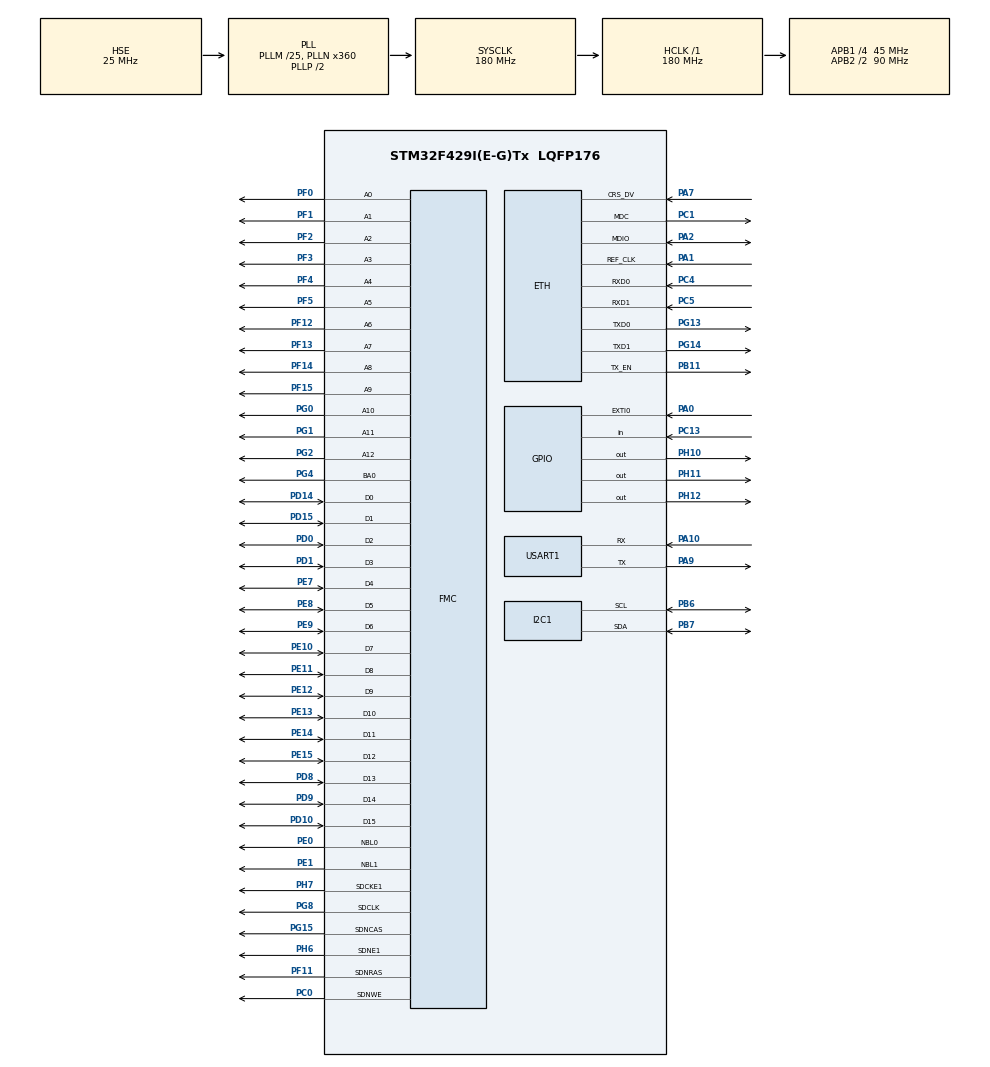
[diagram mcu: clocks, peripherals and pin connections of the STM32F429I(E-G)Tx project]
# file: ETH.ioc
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ETH.MediaInterface=ETH_MEDIA_INTERFACE_RMII
FMC.CASLatency1=FMC_SDRAM_CAS_LATENCY_3
FMC.ColumnBitsNumber1=FMC_SDRAM_COLUMN_BITS_NUM_9
FMC.ExitSelfRefreshDelay1=7
FMC.LoadToActiveDelay1=2
FMC.RCDDelay1=2
FMC.RPDelay1=2
FMC.RPDelay2=2
FMC.ReadPipeDelay1=FMC_SDRAM_RPIPE_DELAY_1
FMC.ReadPipeDelay2=FMC_SDRAM_RPIPE_DELAY_1
FMC.RowCycleDelay1=7
FMC.RowCycleDelay2=7
FMC.SDClockPeriod1=FMC_SDRAM_CLOCK_PERIOD_2
FMC.SDClockPeriod2=FMC_SDRAM_CLOCK_PERIOD_2
FMC.SelfRefreshTime1=4
FMC.WriteRecoveryTime1=3
FREERTOS.Tasks01=defaultTask,0,4096,StartDefaultTask,Default,NULL,Dynamic,NULL,NULL;myTask02,-3,128,StartTask02,Default,NULL,Dynamic,NULL,NULL;myTask03,-3,128,StartTask03,Default,NULL,Dynamic,NULL,NULL;myTask04,-3,128,StartTask04,Default,NULL,Dynamic,NULL,NULL;myTask05,-3,128,StartTask05,Default,NULL,Dynamic,NULL,NULL;myTask06,-3,128,StartTask06,Default,NULL,Dynamic,NULL,NULL
FREERTOS.Timers01=myTimer01,myTimer_Callback01,osTimerPeriodic,Default,NULL,Dynamic,NULL;myTimer02,myTimer_Callback02,osTimerPeriodic,Default,NULL,Dynamic,NULL;myTimer03,myTimer_Callback03,osTimerPeriodic,Default,NULL,Dynamic,NULL;myTimer04,myTimer_Callback04,osTimerPeriodic,Default,NULL,Dynamic,NULL;myTimer05,myTimer_Callback05,osTimerPeriodic,Default,NULL,Dynamic,NULL;myTimer06,myTimer_Callback06,osTimerPeriodic,Default,NULL,Dynamic,NULL
FREERTOS.configTOTAL_HEAP_SIZE=32768
FREERTOS.configUSE_APPLICATION_TASK_TAG=1
FREERTOS.configUSE_COUNTING_SEMAPHORES=1
FREERTOS.configUSE_RECURSIVE_MUTEXES=1
FREERTOS.configUSE_TIMERS=1
LWIP.GATEWAY_ADDRESS=192.168.018.001
LWIP.IP_ADDRESS=192.168.018.201
LWIP.LWIP_DHCP=1
LWIP.NETMASK_ADDRESS=255.255.255.000
LWIP.Version=v2.1.2_Cube
Mcu.Family=STM32F4
Mcu.Name=STM32F429I(E-G)Tx
Mcu.Package=LQFP176
NVIC.ETH_IRQn=true\:5\:0\:false\:false\:true\:true\:true\:true
NVIC.EXTI0_IRQn=true\:5\:0\:false\:false\:true\:true\:true\:true
NVIC.FMC_IRQn=true\:5\:0\:false\:false\:true\:true\:true\:true
NVIC.PriorityGroup=NVIC_PRIORITYGROUP_4
NVIC.TIM1_UP_TIM10_IRQn=true\:0\:0\:false\:false\:true\:false\:false\:true
NVIC.TimeBase=TIM1_UP_TIM10_IRQn
NVIC.TimeBaseIP=TIM1
PA0/WKUP.Signal=GPXTI0
PA1.Mode=RMII
PA1.Signal=ETH_REF_CLK
PA10.Mode=Asynchronous
PA10.Signal=USART1_RX
PA13.Mode=Serial_Wire
PA13.Signal=SYS_JTMS-SWDIO
PA14.Mode=Serial_Wire
PA14.Signal=SYS_JTCK-SWCLK
PA2.Mode=RMII
PA2.Signal=ETH_MDIO
PA7.Mode=RMII
PA7.Signal=ETH_CRS_DV
PA9.Mode=Asynchronous
PA9.Signal=USART1_TX
PB11.Mode=RMII
PB11.Signal=ETH_TX_EN
PB6.Mode=I2C
PB6.Signal=I2C1_SCL
PB7.Mode=I2C
PB7.Signal=I2C1_SDA
PC0.Signal=FMC_SDNWE
PC1.Mode=RMII
PC1.Signal=ETH_MDC
PC13.Signal=GPIO_Input
PC14/OSC32_IN.Mode=LSE-External-Oscillator
PC14/OSC32_IN.Signal=RCC_OSC32_IN
PC15/OSC32_OUT.Mode=LSE-External-Oscillator
PC15/OSC32_OUT.Signal=RCC_OSC32_OUT
PC4.Mode=RMII
PC4.Signal=ETH_RXD0
PC5.Mode=RMII
PC5.Signal=ETH_RXD1
PD0.Signal=FMC_D2_DA2
PD1.Signal=FMC_D3_DA3
PD10.Signal=FMC_D15_DA15
PD14.Signal=FMC_D0_DA0
PD15.Signal=FMC_D1_DA1
PD8.Signal=FMC_D13_DA13
PD9.Signal=FMC_D14_DA14
PE0.Signal=FMC_NBL0
PE1.Signal=FMC_NBL1
PE10.Signal=FMC_D7_DA7
PE11.Signal=FMC_D8_DA8
PE12.Signal=FMC_D9_DA9
PE13.Signal=FMC_D10_DA10
PE14.Signal=FMC_D11_DA11
PE15.Signal=FMC_D12_DA12
PE7.Signal=FMC_D4_DA4
PE8.Signal=FMC_D5_DA5
PE9.Signal=FMC_D6_DA6
PF0.Signal=FMC_A0
PF1.Signal=FMC_A1
PF11.Signal=FMC_SDNRAS
PF12.Signal=FMC_A6
PF13.Signal=FMC_A7
PF14.Signal=FMC_A8
PF15.Signal=FMC_A9
PF2.Signal=FMC_A2
PF3.Signal=FMC_A3
PF4.Signal=FMC_A4
PF5.Signal=FMC_A5
PG0.Signal=FMC_A10
PG1.Signal=FMC_A11
PG13.Mode=RMII
PG13.Signal=ETH_TXD0
PG14.Mode=RMII
PG14.Signal=ETH_TXD1
PG15.Signal=FMC_SDNCAS
PG2.Signal=FMC_A12
PG4.Signal=FMC_A14_BA0
PG8.Signal=FMC_SDCLK
PH0/OSC_IN.Mode=HSE-External-Oscillator
PH0/OSC_IN.Signal=RCC_OSC_IN
PH1/OSC_OUT.Mode=HSE-External-Oscillator
PH1/OSC_OUT.Signal=RCC_OSC_OUT
PH10.GPIO_ModeDefaultOutputPP=GPIO_MODE_OUTPUT_PP
PH10.GPIO_PuPd=GPIO_PULLUP
PH10.GPIO_Speed=GPIO_SPEED_FREQ_HIGH
PH10.PinState=GPIO_PIN_SET
PH10.Signal=GPIO_Output
PH11.GPIO_ModeDefaultOutputPP=GPIO_MODE_OUTPUT_PP
PH11.GPIO_PuPd=GPIO_PULLUP
PH11.GPIO_Speed=GPIO_SPEED_FREQ_HIGH
PH11.PinState=GPIO_PIN_SET
PH11.Signal=GPIO_Output
PH12.GPIO_ModeDefaultOutputPP=GPIO_MODE_OUTPUT_PP
PH12.GPIO_PuPd=GPIO_PULLUP
PH12.GPIO_Speed=GPIO_SPEED_FREQ_HIGH
PH12.PinState=GPIO_PIN_SET
PH12.Signal=GPIO_Output
PH6.Mode=SdramChipSelect2_1
PH6.Signal=FMC_SDNE1
PH7.Mode=SdramChipSelect2_1
PH7.Signal=FMC_SDCKE1
ProjectManager.HeapSize=0x1200
ProjectManager.StackSize=0x1400
ProjectManager.TargetToolchain=MDK-ARM V5.27
RCC.48MHZClocksFreq_Value=45000000
RCC.AHBFreq_Value=180000000
RCC.APB1CLKDivider=RCC_HCLK_DIV4
RCC.APB1Freq_Value=45000000
RCC.APB1TimFreq_Value=90000000
RCC.APB2CLKDivider=RCC_HCLK_DIV2
RCC.APB2Freq_Value=90000000
RCC.APB2TimFreq_Value=180000000
RCC.CortexFreq_Value=180000000
RCC.HCLKFreq_Value=180000000
RCC.HSE_VALUE=25000000
RCC.HSI_VALUE=16000000
RCC.PLLM=25
RCC.PLLN=360
RCC.PLLQ=8
RCC.PLLSourceVirtual=RCC_PLLSOURCE_HSE
RCC.SYSCLKFreq_VALUE=180000000
RCC.SYSCLKSource=RCC_SYSCLKSOURCE_PLLCLK
RCC.VCOOutputFreq_Value=360000000
RTC.Date=15
RTC.Hours=12
RTC.Minutes=59
RTC.Month=RTC_MONTH_DECEMBER
RTC.Seconds=30
RTC.WeekDay=RTC_WEEKDAY_TUESDAY
RTC.Year=20
SH.FMC_A0.0=FMC_A0,13b-sda1
SH.FMC_A1.0=FMC_A1,13b-sda1
SH.FMC_A10.0=FMC_A10,13b-sda1
SH.FMC_A11.0=FMC_A11,13b-sda1
SH.FMC_A12.0=FMC_A12,13b-sda1
SH.FMC_A14_BA0.0=FMC_BA0,TwoSdramBanks1
SH.FMC_A2.0=FMC_A2,13b-sda1
SH.FMC_A3.0=FMC_A3,13b-sda1
SH.FMC_A4.0=FMC_A4,13b-sda1
SH.FMC_A5.0=FMC_A5,13b-sda1
SH.FMC_A6.0=FMC_A6,13b-sda1
SH.FMC_A7.0=FMC_A7,13b-sda1
SH.FMC_A8.0=FMC_A8,13b-sda1
SH.FMC_A9.0=FMC_A9,13b-sda1
SH.FMC_D0_DA0.0=FMC_D0,sd-16b-d1
SH.FMC_D10_DA10.0=FMC_D10,sd-16b-d1
SH.FMC_D11_DA11.0=FMC_D11,sd-16b-d1
SH.FMC_D12_DA12.0=FMC_D12,sd-16b-d1
SH.FMC_D13_DA13.0=FMC_D13,sd-16b-d1
SH.FMC_D14_DA14.0=FMC_D14,sd-16b-d1
SH.FMC_D15_DA15.0=FMC_D15,sd-16b-d1
SH.FMC_D1_DA1.0=FMC_D1,sd-16b-d1
SH.FMC_D2_DA2.0=FMC_D2,sd-16b-d1
SH.FMC_D3_DA3.0=FMC_D3,sd-16b-d1
SH.FMC_D4_DA4.0=FMC_D4,sd-16b-d1
SH.FMC_D5_DA5.0=FMC_D5,sd-16b-d1
SH.FMC_D6_DA6.0=FMC_D6,sd-16b-d1
SH.FMC_D7_DA7.0=FMC_D7,sd-16b-d1
SH.FMC_D8_DA8.0=FMC_D8,sd-16b-d1
SH.FMC_D9_DA9.0=FMC_D9,sd-16b-d1
SH.FMC_NBL0.0=FMC_NBL0,Sd2ByteEnable1
SH.FMC_NBL1.0=FMC_NBL1,Sd2ByteEnable1
SH.FMC_SDCLK.0=FMC_SDCLK,13b-sda1
SH.FMC_SDNCAS.0=FMC_SDNCAS,13b-sda1
SH.FMC_SDNRAS.0=FMC_SDNRAS,13b-sda1
SH.FMC_SDNWE.0=FMC_SDNWE,13b-sda1
USART1.VirtualMode=VM_ASYNC
VP_FREERTOS_VS_CMSIS_V1.Mode=CMSIS_V1
VP_LWIP_VS_Enabled.Mode=Enabled
VP_RNG_VS_RNG.Mode=RNG_Activate
VP_RTC_VS_RTC_Activate.Mode=RTC_Enabled
VP_RTC_VS_RTC_WakeUp_intern.Mode=WakeUp
VP_SYS_VS_tim1.Mode=TIM1
board=custom

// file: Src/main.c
/* USER CODE BEGIN Header */
/**
  ******************************************************************************
  * @file           : main.c
  * @brief          : Main program body
  ******************************************************************************
  * @attention
  *
  * <h2><center>&copy; Copyright (c) 2020 STMicroelectronics.
  * All rights reserved.</center></h2>
  *
  * This software component is licensed by ST under Ultimate Liberty license
  * SLA0044, the "License"; You may not use this file except in compliance with
  * the License. You may obtain a copy of the License at:
  *                             www.st.com/SLA0044
  *
  ******************************************************************************
  */

/**
  ******************************************************************************
  * @file           : 本程序实现的内容汇总
  ******************************************************************************
  *【1】实现 LED 灯的控制
  *
  *【2】实现 KEY 的 中断和轮询
  *
  *【3】实现 UART 的 printf(); 函数重定向
  *
  *【4】实现以太网 ETH 的 简单测试 ping 和打印 自动获取到的 IP 地址
  *
  *【5】实现 RTC 实时时钟的 printf() 打印
  *
  *【6】实现操作系统 Free RTOS 的创建进程和软件定时
  *
  *【7】实现随机数 RNG 的 printf() 打印
  *
  *【8】实现 SDRAM 的读写测试 printf() 打印
  *
  *【9】
  *
  *【10】
  *
  *
  *实现 LTDC 结合 SDRAM 实现 RGB888 的显示
  ******************************************************************************
  */

/* USER CODE END Header */

#include "main.h"
#include "cmsis_os.h"
#include "i2c.h"
#include "lwip.h"
#include "rng.h"
#include "rtc.h"
#include "usart.h"
#include "gpio.h"
#include "fmc.h"

void SystemClock_Config(void);
void MX_FREERTOS_Init(void);

int main(void)
{

  /* MCU Configuration--------------------------------------------------------*/

  /* Reset of all peripherals, Initializes the Flash interface and the Systick. */
  HAL_Init();

  /* Configure the system clock */
  SystemClock_Config();

  /* Initialize all configured peripherals */
  MX_GPIO_Init();
  MX_USART1_UART_Init();
  MX_RTC_Init();
  MX_RNG_Init();
  MX_FMC_Init();
  MX_I2C1_Init();
  /* USER CODE BEGIN 2 */

SDRAM_InitSequence();
  /* USER CODE END 2 */

  /* Call init function for freertos objects (in freertos.c) */
  MX_FREERTOS_Init();
  /* Start scheduler */
  osKernelStart();

  /* We should never get here as control is now taken by the scheduler */
  /* Infinite loop */
  while (1)
  {

  }
}

void SystemClock_Config(void)
{
  RCC_OscInitTypeDef RCC_OscInitStruct = {0};
  RCC_ClkInitTypeDef RCC_ClkInitStruct = {0};
  RCC_PeriphCLKInitTypeDef PeriphClkInitStruct = {0};

  /** Configure the main internal regulator output voltage
  */
  __HAL_RCC_PWR_CLK_ENABLE();
  __HAL_PWR_VOLTAGESCALING_CONFIG(PWR_REGULATOR_VOLTAGE_SCALE1);
  /** Initializes the CPU, AHB and APB busses clocks
  */
  RCC_OscInitStruct.OscillatorType = RCC_OSCILLATORTYPE_LSI|RCC_OSCILLATORTYPE_HSE;
  RCC_OscInitStruct.HSEState = RCC_HSE_ON;
  RCC_OscInitStruct.LSIState = RCC_LSI_ON;
  RCC_OscInitStruct.PLL.PLLState = RCC_PLL_ON;
  RCC_OscInitStruct.PLL.PLLSource = RCC_PLLSOURCE_HSE;
  RCC_OscInitStruct.PLL.PLLM = 25;
  RCC_OscInitStruct.PLL.PLLN = 360;
  RCC_OscInitStruct.PLL.PLLP = RCC_PLLP_DIV2;
  RCC_OscInitStruct.PLL.PLLQ = 8;
  if (HAL_RCC_OscConfig(&RCC_OscInitStruct) != HAL_OK)
  {
    Error_Handler();
  }
  /** Activate the Over-Drive mode
  */
  if (HAL_PWREx_EnableOverDrive() != HAL_OK)
  {
    Error_Handler();
  }
  /** Initializes the CPU, AHB and APB busses clocks
  */
  RCC_ClkInitStruct.ClockType = RCC_CLOCKTYPE_HCLK|RCC_CLOCKTYPE_SYSCLK
                              |RCC_CLOCKTYPE_PCLK1|RCC_CLOCKTYPE_PCLK2;
  RCC_ClkInitStruct.SYSCLKSource = RCC_SYSCLKSOURCE_PLLCLK;
  RCC_ClkInitStruct.AHBCLKDivider = RCC_SYSCLK_DIV1;
  RCC_ClkInitStruct.APB1CLKDivider = RCC_HCLK_DIV4;
  RCC_ClkInitStruct.APB2CLKDivider = RCC_HCLK_DIV2;

  if (HAL_RCC_ClockConfig(&RCC_ClkInitStruct, FLASH_LATENCY_5) != HAL_OK)
  {
    Error_Handler();
  }
  PeriphClkInitStruct.PeriphClockSelection = RCC_PERIPHCLK_RTC;
  PeriphClkInitStruct.RTCClockSelection = RCC_RTCCLKSOURCE_LSI;
  if (HAL_RCCEx_PeriphCLKConfig(&PeriphClkInitStruct) != HAL_OK)
  {
    Error_Handler();
  }
}

 /**
  * @brief  Period elapsed callback in non blocking mode
  * @note   This function is called  when TIM1 interrupt took place, inside
  * HAL_TIM_IRQHandler(). It makes a direct call to HAL_IncTick() to increment
  * a global variable "uwTick" used as application time base.
  * @param  htim : TIM handle
  * @retval None
  */
void HAL_TIM_PeriodElapsedCallback(TIM_HandleTypeDef *htim)
{
  if (htim->Instance == TIM1) {
    HAL_IncTick();
  }
}

void Error_Handler(void)
{
}

/************************ (C) COPYRIGHT STMicroelectronics *****END OF FILE****/

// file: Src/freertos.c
/* USER CODE BEGIN Header */
/**
  ******************************************************************************
  * File Name          : freertos.c
  * Description        : Code for freertos applications
  ******************************************************************************
  * @attention
  *
  * <h2><center>&copy; Copyright (c) 2020 STMicroelectronics.
  * All rights reserved.</center></h2>
  *
  * This software component is licensed by ST under Ultimate Liberty license
  * SLA0044, the "License"; You may not use this file except in compliance with
  * the License. You may obtain a copy of the License at:
  *                             www.st.com/SLA0044
  *
  ******************************************************************************
  */
/* USER CODE END Header */

#include "FreeRTOS.h"
#include "task.h"
#include "main.h"
#include "cmsis_os.h"

/* USER CODE BEGIN Includes */
#include "lwip.h"
#include "stdio.h"
#include "rtc.h"
#include "rng.h"
#include "fmc.h"

/* USER CODE END Includes */

/* USER CODE BEGIN PD */

extern RNG_HandleTypeDef hrng;

/* USER CODE END PD */

osThreadId defaultTaskHandle;
osThreadId myTask02Handle;
osThreadId myTask03Handle;
osThreadId myTask04Handle;
osThreadId myTask05Handle;
osThreadId myTask06Handle;
osTimerId myTimer01Handle;
osTimerId myTimer02Handle;
osTimerId myTimer03Handle;
osTimerId myTimer04Handle;
osTimerId myTimer05Handle;
osTimerId myTimer06Handle;

void StartDefaultTask(void const * argument);
void StartTask02(void const * argument);
void StartTask03(void const * argument);
void StartTask04(void const * argument);
void StartTask05(void const * argument);
void StartTask06(void const * argument);
void myTimer_Callback01(void const * argument);
void myTimer_Callback02(void const * argument);
void myTimer_Callback03(void const * argument);
void myTimer_Callback04(void const * argument);
void myTimer_Callback05(void const * argument);
void myTimer_Callback06(void const * argument);

extern void MX_LWIP_Init(void);
void MX_FREERTOS_Init(void); /* (MISRA C 2004 rule 8.1) */

/* GetIdleTaskMemory prototype (linked to static allocation support) */
void vApplicationGetIdleTaskMemory( StaticTask_t **ppxIdleTaskTCBBuffer, StackType_t **ppxIdleTaskStackBuffer, uint32_t *pulIdleTaskStackSize );

/* GetTimerTaskMemory prototype (linked to static allocation support) */
void vApplicationGetTimerTaskMemory( StaticTask_t **ppxTimerTaskTCBBuffer, StackType_t **ppxTimerTaskStackBuffer, uint32_t *pulTimerTaskStackSize );

/* USER CODE BEGIN GET_IDLE_TASK_MEMORY */
static StaticTask_t xIdleTaskTCBBuffer;
static StackType_t xIdleStack[configMINIMAL_STACK_SIZE];

void vApplicationGetIdleTaskMemory( StaticTask_t **ppxIdleTaskTCBBuffer, StackType_t **ppxIdleTaskStackBuffer, uint32_t *pulIdleTaskStackSize )
{
  *ppxIdleTaskTCBBuffer = &xIdleTaskTCBBuffer;
  *ppxIdleTaskStackBuffer = &xIdleStack[0];
  *pulIdleTaskStackSize = configMINIMAL_STACK_SIZE;
  /* place for user code */
}
/* USER CODE END GET_IDLE_TASK_MEMORY */

/* USER CODE BEGIN GET_TIMER_TASK_MEMORY */
static StaticTask_t xTimerTaskTCBBuffer;
static StackType_t xTimerStack[configTIMER_TASK_STACK_DEPTH];

void vApplicationGetTimerTaskMemory( StaticTask_t **ppxTimerTaskTCBBuffer, StackType_t **ppxTimerTaskStackBuffer, uint32_t *pulTimerTaskStackSize )
{
  *ppxTimerTaskTCBBuffer = &xTimerTaskTCBBuffer;
  *ppxTimerTaskStackBuffer = &xTimerStack[0];
  *pulTimerTaskStackSize = configTIMER_TASK_STACK_DEPTH;
  /* place for user code */
}
/* USER CODE END GET_TIMER_TASK_MEMORY */

void MX_FREERTOS_Init(void) {

  /* Create the timer(s) */
  /* definition and creation of myTimer01 */
  osTimerDef(myTimer01, myTimer_Callback01);
  myTimer01Handle = osTimerCreate(osTimer(myTimer01), osTimerPeriodic, NULL);

  /* definition and creation of myTimer02 */
  osTimerDef(myTimer02, myTimer_Callback02);
  myTimer02Handle = osTimerCreate(osTimer(myTimer02), osTimerPeriodic, NULL);

  /* definition and creation of myTimer03 */
  osTimerDef(myTimer03, myTimer_Callback03);
  myTimer03Handle = osTimerCreate(osTimer(myTimer03), osTimerPeriodic, NULL);

  /* definition and creation of myTimer04 */
  osTimerDef(myTimer04, myTimer_Callback04);
  myTimer04Handle = osTimerCreate(osTimer(myTimer04), osTimerPeriodic, NULL);

  /* definition and creation of myTimer05 */
  osTimerDef(myTimer05, myTimer_Callback05);
  myTimer05Handle = osTimerCreate(osTimer(myTimer05), osTimerPeriodic, NULL);

  /* definition and creation of myTimer06 */
  osTimerDef(myTimer06, myTimer_Callback06);
  myTimer06Handle = osTimerCreate(osTimer(myTimer06), osTimerPeriodic, NULL);

  /* Create the thread(s) */
  /* definition and creation of defaultTask */
  osThreadDef(defaultTask, StartDefaultTask, osPriorityNormal, 0, 4096);
  defaultTaskHandle = osThreadCreate(osThread(defaultTask), NULL);

  /* definition and creation of myTask02 */
  osThreadDef(myTask02, StartTask02, osPriorityIdle, 0, 128);
  myTask02Handle = osThreadCreate(osThread(myTask02), NULL);

  /* definition and creation of myTask03 */
  osThreadDef(myTask03, StartTask03, osPriorityIdle, 0, 128);
  myTask03Handle = osThreadCreate(osThread(myTask03), NULL);

  /* definition and creation of myTask04 */
  osThreadDef(myTask04, StartTask04, osPriorityIdle, 0, 128);
  myTask04Handle = osThreadCreate(osThread(myTask04), NULL);

  /* definition and creation of myTask05 */
  osThreadDef(myTask05, StartTask05, osPriorityIdle, 0, 128);
  myTask05Handle = osThreadCreate(osThread(myTask05), NULL);

  /* definition and creation of myTask06 */
  osThreadDef(myTask06, StartTask06, osPriorityIdle, 0, 128);
  myTask06Handle = osThreadCreate(osThread(myTask06), NULL);

  /* USER CODE BEGIN RTOS_THREADS */
  /* add threads, ... */

	//添加定时器启动函数
	osStatus	timeResult	=	osOK;
	timeResult	=	osTimerStart(myTimer01Handle,1000);//定时器1000ms

	if(osOK	==	timeResult)
	{
		printf("\r\n\r\nStart osTimer OK\r\n\r\n");
	}
	else	printf("\r\n\r\nStart osTimer Error\r\n\r\n");

  /* USER CODE END RTOS_THREADS */

}

void StartDefaultTask(void const * argument)
{
  /* init code for LWIP */
  MX_LWIP_Init();
  /* USER CODE BEGIN StartDefaultTask */
	lwip_Get_IP();
  /* Infinite loop */
  for(;;)
  {
	  lwip_Get_IP();
    osDelay(1);
  }
  /* USER CODE END StartDefaultTask */
}

void StartTask02(void const * argument)
{
  /* USER CODE BEGIN StartTask02 */
  /* Infinite loop */
  for(;;)
  {
	  HAL_GPIO_WritePin(GPIOH,GPIO_PIN_10,GPIO_PIN_RESET);
    osDelay(200);
	  HAL_GPIO_WritePin(GPIOH,GPIO_PIN_10,GPIO_PIN_SET);
    osDelay(200);
	  HAL_GPIO_TogglePin(GPIOH,GPIO_PIN_11);
	osDelay(200);
  }
  /* USER CODE END StartTask02 */
}

void StartTask03(void const * argument)
{
  /* USER CODE BEGIN StartTask03 */
  /* Infinite loop */
  for(;;)
  {
	  //HAL_Delay(20);//消抖，有硬件消抖所以不使用
	  if ( HAL_GPIO_ReadPin(GPIOC,GPIO_PIN_13) == GPIO_PIN_SET)
	  {
		  while(HAL_GPIO_ReadPin(GPIOC,GPIO_PIN_13) == GPIO_PIN_SET);
		  printf("\r\n ---GPIO_PIN_13_按键轮询响应 \r\n");
	  }
    osDelay(1);
  }
  /* USER CODE END StartTask03 */
}

void StartTask04(void const * argument)
{
  /* USER CODE BEGIN StartTask04 */
  /* Infinite loop */
  for(;;)
  {
	  printf("\r\n PNG随机数Random 32bit Number:0x%08x !!! \r\n",HAL_RNG_GetRandomNumber(&hrng));
    osDelay(1000);
  }
  /* USER CODE END StartTask04 */
}

/* USER CODE BEGIN Header_StartTask05 */
/**
* @brief Function implementing the myTask05 thread.
* @param argument: Not used
* @retval None
*/
#include "stdio.h"

uint32_t RadomBuffer[10000];
uint32_t ReadBuffer[10000];
uint32_t *pSDRAM;
//#define SDRAM_BANK_ADDR ((uint32_t)0xD0000000)
long long count=0;

void SDRAM_Check(void)
{
    printf("开始生成100个SDRAM测试随机数\r\n");

    pSDRAM=(uint32_t*)SDRAM_BANK_ADDR;
    count=1;
    for(count=1;count<=100;count++)
    {
        RadomBuffer[count]=HAL_RNG_GetRandomNumber(&hrng);
        *pSDRAM=RadomBuffer[count];
        pSDRAM++;
        printf("%8x,",RadomBuffer[count]);
        if (count % 10 == 0)
            printf("\r\n");
    }
    printf("\r\n写入SDRAM完成\r\n");
    printf("\r\n\r\n\r\n\r\n\r\n");

    pSDRAM=(uint32_t*)SDRAM_BANK_ADDR;
    count=1;
    for(count=1;count<=100;count++)

    {
        ReadBuffer[count]=*pSDRAM;
        pSDRAM++;
        printf("%8x,",ReadBuffer[count]);
        if (count % 10 == 0)
            printf("\r\n");
    }
    printf("\r\n读取SDRAM完成\r\n");

    count=0;
    for(count=0;count<100;count++)
    {
        if (ReadBuffer[count] != RadomBuffer[count])
            printf("\r\n\r\n\r\n ---测试失败（写入读取不一致）----  \r\n");
    }
    printf("\r\n\r\n\r\n ---测试成功----  \r\n");
}

/* USER CODE END Header_StartTask05 */
void StartTask05(void const * argument)
{
  /* USER CODE BEGIN StartTask05 */
	SDRAM_Check();
  /* Infinite loop */
  for(;;)
  {
    osDelay(1);
  }
  /* USER CODE END StartTask05 */
}

void StartTask06(void const * argument)
{
  for(;;)
  {
    osDelay(1);
  }
}

/* myTimer_Callback01 function */
void myTimer_Callback01(void const * argument)
{
  /* USER CODE BEGIN myTimer_Callback01 */
	user_RTC_printf();
  /* USER CODE END myTimer_Callback01 */
}

/* myTimer_Callback02 function */
void myTimer_Callback02(void const * argument)
{
}

/* myTimer_Callback03 function */
void myTimer_Callback03(void const * argument)
{
}

/* myTimer_Callback04 function */
void myTimer_Callback04(void const * argument)
{
}

/* myTimer_Callback05 function */
void myTimer_Callback05(void const * argument)
{
}

/* myTimer_Callback06 function */
void myTimer_Callback06(void const * argument)
{
}

/************************ (C) COPYRIGHT STMicroelectronics *****END OF FILE****/
